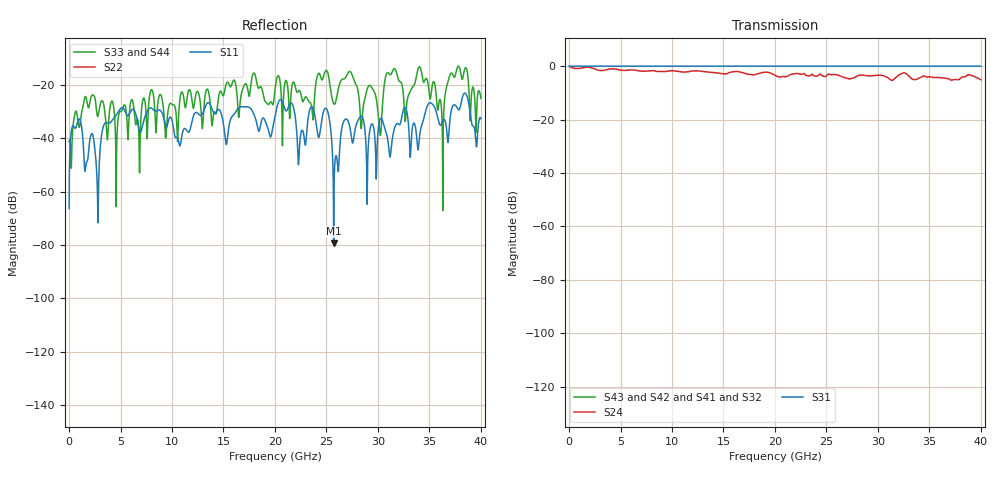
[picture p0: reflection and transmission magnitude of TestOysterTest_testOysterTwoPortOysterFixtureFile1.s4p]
# MHz MA S R 50.0
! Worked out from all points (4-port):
!   8000 points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, 5 MHz to 40 GHz, reference 50 ohm
!   strongest paths, dB at 5 MHz, 10.01 GHz, 20 GHz, 30 GHz, 40 GHz:
!     S31: 0.0, 0.0, 0.0, 0.0, 0.0
!     S24: -0.1, -1.7, -3.4, -3.4, -5.1
!     S43: -, -, -, -, -
!     S42: -, -, -, -, -
!     S41: -, -, -, -, -
!     S32: -, -, -, -, -
!   lowest |S11| = -79.3 dB at 25.7 GHz (marker M1), VSWR 1.00, Z = 50 - j0.00555 ohm
!   |S11| at or under -10 dB: start of sweep to end of sweep
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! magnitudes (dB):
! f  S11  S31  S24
! 5 MHz  -66.3  0.0  -0.1
! 945 MHz  -32.8  0.0  -0.9
! 2.775 GHz  -64.0  0.0  -1.5
! 13.51 GHz  -26.7  0.0  -2.2
! 24.95 GHz  -28.8  0.0  -3.8
! 25.7 GHz  -79.3  0.0  -3.1
! 40 GHz  -32.7  0.0  -5.1
